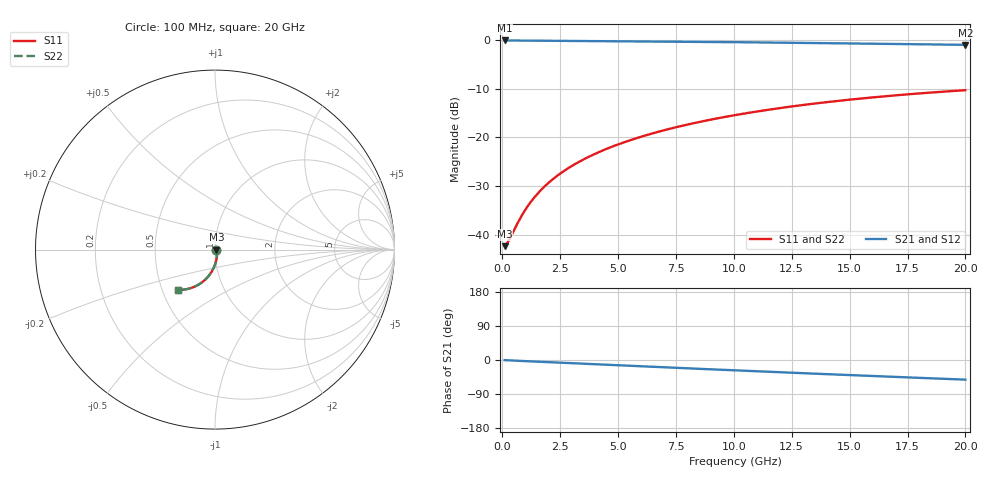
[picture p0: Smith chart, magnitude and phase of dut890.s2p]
! Touchstone file exported from HFSS 2026.1.0
!  File:  C:/ffzhzh/LocalFiles/Ansys_Project_Files/temp_train_BSMRDL_890_1783171235_55132.aedt
!  Generated:  09:22:05 PM Jul  4, 2026
!  Design:  BSMRDL
!  Project:  temp_train_BSMRDL_890_1783171235_55132
! Variables:
!  h_bsmrdl = 3.85um
!  h_ox = 20um
!  h_rdl = 5um
!  h_sub = 80um
!  h_tmrdl = 5um
!  h_tsv = 80um
!  h_via = 3um
!  l_bsmrdl = 849.21um
!  l_sub = 1249.21um
!  l_tmrdl = 200um
!  m_sub = 200um
!  pitch = 11.56um
!  r_tsv = 6um
!  s_tmrdl = 10um
!  w_bsmrdl = 10.37um
!  w_sub = 500um
!  w_tmrdl = 12um
!  x_tsv_center1 = 206um
!  x_tsv_center2 = 1065.58um
!  x_tsv_center3 = 1277.58um
!  x_tsv_center4 = 2137.16um
!  x_tsv_center5 = 2349.16um
!  x_tsv_center6 = 3208.74um
# GHz S MA R 50.000000
! Terminal data exported
! Port[1] = BSM_RDL1_1_T1
! Port[2] = BSM_RDL1_1_T2
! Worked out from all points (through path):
!   200 points, 100 MHz to 20 GHz, reference 50 ohm
!   highest |S21| = -0.07 dB at 100 MHz (marker M1); lowest = -1.0 dB at 20 GHz (marker M2)
!   group delay of S21, straight-line fit = 7.18 ps
!   lowest |S11| = -42.4 dB at 100 MHz (marker M3), VSWR 1.02, Z = 50.8 - j0.0756 ohm
!   |S11| at or under -10 dB: start of sweep to end of sweep
!   |S22| runs from -42.4 to -10.3 dB; largest |S21 - S12| = 3e-15
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0.1  0.007614 -5.6  0.9924 -0.3  0.9924 -0.3  0.007614 -5.6
! Gamma 0 0 0 0
! Port Impedance 50 0 50 0
0.2  0.008109 -11.4  0.992 -0.7  0.992 -0.7  0.008109 -11.4
0.3  0.00888 -17.3  0.9915 -1.0  0.9915 -1.0  0.00888 -17.3
0.7  0.01367 -38.8  0.989 -2.2  0.989 -2.2  0.01367 -38.8
1  0.0181 -50.4  0.9876 -3.0  0.9876 -3.0  0.0181 -50.4
1.3  0.02279 -58.6  0.9867 -3.8  0.9867 -3.8  0.02279 -58.6
1.6  0.02761 -64.6  0.9859 -4.6  0.9859 -4.6  0.02761 -64.6
2  0.03416 -70.5  0.9849 -5.7  0.9849 -5.7  0.03415 -70.5
2.4  0.04077 -74.9  0.984 -6.8  0.984 -6.8  0.04077 -74.9
2.9  0.04912 -79.1  0.9828 -8.2  0.9828 -8.2  0.04911 -79.2
3.5  0.0592 -83.1  0.9812 -9.8  0.9812 -9.8  0.0592 -83.1
4.2  0.07104 -86.8  0.979 -11.7  0.979 -11.7  0.07104 -86.8
5  0.08464 -90.3  0.9763 -13.9  0.9763 -13.9  0.08463 -90.3
5.9  0.09997 -93.7  0.9728 -16.4  0.9728 -16.4  0.09996 -93.7
6.8  0.1153 -96.8  0.969 -18.8  0.969 -18.8  0.1153 -96.9
8.4  0.1423 -101.9  0.9616 -23.0  0.9616 -23.0  0.1422 -102.0
10.1  0.1703 -107.0  0.9528 -27.4  0.9528 -27.4  0.1702 -107.0
11.7  0.1957 -111.5  0.944 -31.5  0.944 -31.5  0.1957 -111.6
13.4  0.2214 -116.2  0.9342 -35.8  0.9342 -35.8  0.2214 -116.2
15  0.2443 -120.4  0.9247 -39.8  0.9247 -39.8  0.2443 -120.5
16.7  0.267 -124.8  0.9145 -44.0  0.9145 -44.0  0.2669 -124.9
20  0.3059 -132.9  0.8945 -51.8  0.8945 -51.8  0.3058 -133.0
